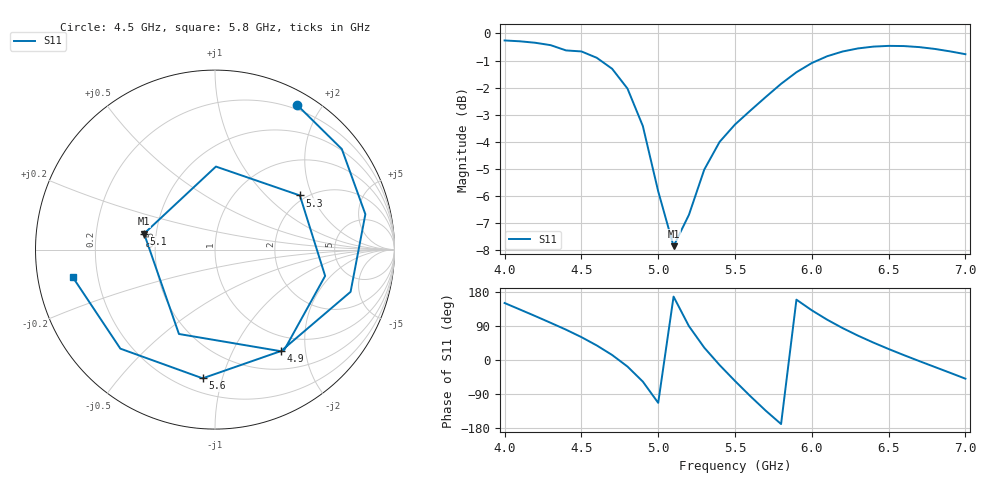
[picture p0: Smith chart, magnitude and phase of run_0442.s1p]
! Touchstone file exported from HFSS 2024.2.0
!  File:  C:/Users/wsak9/Desktop/Sim Fast/Widenad Patch/WP_AI_V1_sweep.aedt
!  Generated:  10:11:43 AM Oct 14, 2026
!  Design:  A1_model
!  Project:  WP_AI_V1_sweep
!  Setup:  Setup1
!  Solution:  Sweep
! Variables:
!  Air_gap = 1.9mm
!  Curve_Amp1 = 2.42
!  Curve_len1 = 1
!  Curve_pos = 11.085mm
!  Extra = 0.84mm
!  H_sub = 0.79mm
!  L_Patch = 18.17mm
!  L_Patch1 = 8.91mm
!  Sx = 3.85mm
!  Sy = 3.72mm
!  WS = 1.31mm
!  W_Patch = 21.84mm
!  W_Patch1 = 8.07mm
!Data is not renormalized
# GHz S MA
! Terminal data exported
! Port[1] = 1
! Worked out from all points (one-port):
!   31 points, 4 GHz to 7 GHz, reference per port
!   lowest |S11| = -7.9 dB at 5.1 GHz (marker M1), VSWR 2.36
!   |S11| at or under -10 dB: nowhere
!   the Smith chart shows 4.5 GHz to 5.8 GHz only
!   S11 on the Smith chart (normalised r, x): 4.5 GHz: 0.15, +1.71; 4.9 GHz: 0.76, -1.57; 5.1 GHz: 0.43, +0.09; 5.3 GHz: 1.86, +1.64; 5.6 GHz: 0.29, -0.87; 5.8 GHz: 0.11, -0.09
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4  0.9706 150.4
4.2  0.9611 115.9
4.3  0.9514 98.1
4.4  0.9304 80.0
4.5  0.9264 60.4
4.6  0.9017 38.4
4.7  0.8606 13.2
4.8  0.7912 -17.3
4.9  0.6747 -57.0
5  0.5113 -113.1
5.1  0.405 167.3
5.2  0.4626 89.4
5.3  0.5608 32.5
5.4  0.631 -13.5
5.5  0.6791 -55.4
5.6  0.7205 -95.5
5.7  0.7632 -133.7
5.8  0.8073 -169.0
5.9  0.848 159.2
6  0.8819 131.1
6.1  0.9077 106.4
6.2  0.926 84.3
6.3  0.9383 64.4
6.5  0.9485 29.0
6.6  0.9478 12.8
6.7  0.9436 -2.9
6.8  0.9364 -18.3
7  0.9156 -49.3
